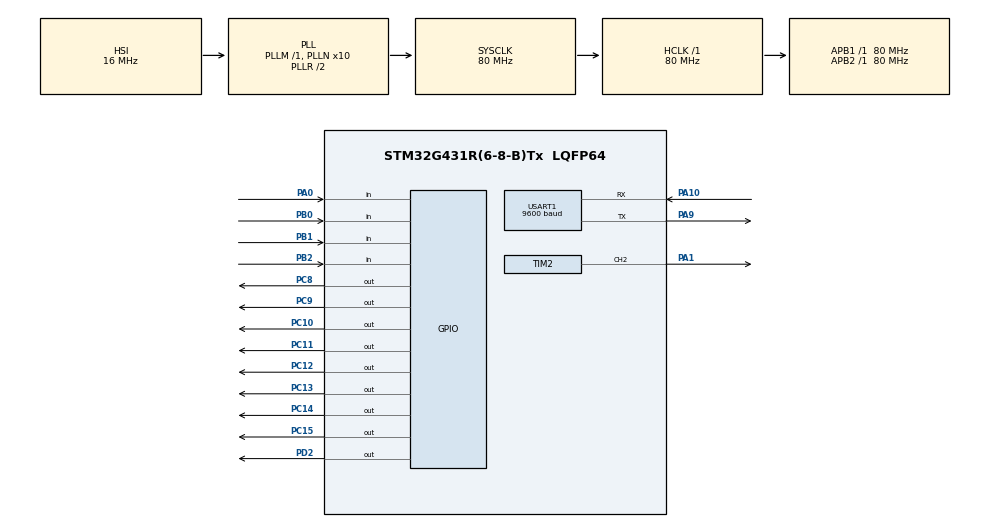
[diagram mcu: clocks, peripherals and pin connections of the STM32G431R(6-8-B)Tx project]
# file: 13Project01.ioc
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Mcu.Family=STM32G4
Mcu.Name=STM32G431R(6-8-B)Tx
Mcu.Package=LQFP64
NVIC.PriorityGroup=NVIC_PRIORITYGROUP_4
NVIC.USART1_IRQn=true\:0\:0\:false\:false\:true\:true\:true
PA0.Signal=GPIO_Input
PA1.Signal=S_TIM2_CH2
PA10.Mode=Asynchronous
PA10.Signal=USART1_RX
PA13.Mode=Serial_Wire
PA13.Signal=SYS_JTMS-SWDIO
PA14.Mode=Serial_Wire
PA14.Signal=SYS_JTCK-SWCLK
PA9.Mode=Asynchronous
PA9.Signal=USART1_TX
PB0.Signal=GPIO_Input
PB1.Signal=GPIO_Input
PB2.Signal=GPIO_Input
PC10.Signal=GPIO_Output
PC11.Signal=GPIO_Output
PC12.Signal=GPIO_Output
PC13.Signal=GPIO_Output
PC14-OSC32_IN.Signal=GPIO_Output
PC15-OSC32_OUT.Signal=GPIO_Output
PC8.Signal=GPIO_Output
PC9.Signal=GPIO_Output
PD2.Signal=GPIO_Output
PF0-OSC_IN.Mode=HSE-External-Oscillator
PF0-OSC_IN.Signal=RCC_OSC_IN
PF1-OSC_OUT.Mode=HSE-External-Oscillator
PF1-OSC_OUT.Signal=RCC_OSC_OUT
ProjectManager.HeapSize=0x200
ProjectManager.StackSize=0x400
ProjectManager.TargetToolchain=MDK-ARM V5
RCC.ADC12Freq_Value=80000000
RCC.AHBFreq_Value=80000000
RCC.APB1Freq_Value=80000000
RCC.APB1TimFreq_Value=80000000
RCC.APB2Freq_Value=80000000
RCC.APB2TimFreq_Value=80000000
RCC.CortexFreq_Value=80000000
RCC.EXTERNAL_CLOCK_VALUE=12288000
RCC.HCLKFreq_Value=80000000
RCC.HSE_VALUE=24000000
RCC.HSI48_VALUE=48000000
RCC.HSI_VALUE=16000000
RCC.LSE_VALUE=32768
RCC.PLLN=10
RCC.SYSCLKFreq_VALUE=80000000
RCC.SYSCLKSource=RCC_SYSCLKSOURCE_PLLCLK
RCC.USBFreq_Value=80000000
RCC.VCOOutputFreq_Value=160000000
SH.S_TIM2_CH2.0=TIM2_CH2,PWM Generation2 CH2
TIM2.Channel-PWM\ Generation2\ CH2=TIM_CHANNEL_2
TIM2.PeriodNoDither=999
TIM2.Prescaler=80-1
TIM2.PulseNoDither_2=500
USART1.BaudRate=9600
USART1.VirtualMode-Asynchronous=VM_ASYNC
VP_SYS_VS_DBSignals.Mode=DisableDeadBatterySignals
VP_TIM2_VS_ClockSourceINT.Mode=Internal
board=custom

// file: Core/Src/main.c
/* USER CODE BEGIN Header */
/**
  ******************************************************************************
  * @file           : main.c
  * @brief          : Main program body
  ******************************************************************************
  * @attention
  *
  * <h2><center>&copy; Copyright (c) 2023 STMicroelectronics.
  * All rights reserved.</center></h2>
  *
  * This software component is licensed by ST under BSD 3-Clause license,
  * the "License"; You may not use this file except in compliance with the
  * License. You may obtain a copy of the License at:
  *                        opensource.org/licenses/BSD-3-Clause
  *
  ******************************************************************************
  */
/* USER CODE END Header */
#include "main.h"
#include "tim.h"
#include "usart.h"
#include "gpio.h"

/* USER CODE BEGIN Includes */
#include "stdio.h"
#include "string.h"
#include "i2c_hal.h"
#include "lcd.h"
/* USER CODE END Includes */

/* USER CODE BEGIN PD */
#define KEY1 HAL_GPIO_ReadPin(GPIOB,GPIO_PIN_0)
#define KEY2 HAL_GPIO_ReadPin(GPIOB,GPIO_PIN_1)
#define KEY3 HAL_GPIO_ReadPin(GPIOB,GPIO_PIN_2)
#define KEY4 HAL_GPIO_ReadPin(GPIOA,GPIO_PIN_0)

/* USER CODE END PD */

/* USER CODE BEGIN PV */
u8 key_val,key_down,key_up,key_old;
double ao1, ao2;
u8 sta_lcd;
u8 ptr[30];

unsigned char tx[21],rx,rx_buf[21],dex;//串口相关变量

u8 tc[128];
u8 tcs = 0;

u8 led_in;
u8 e2prom[5];//EEPROM存储数组
int key[3] = {-1, -1, -1};
u8 rightkey[3] = {1, 2, 3};
u16 freq = 2000;
u8 zb = 50, err_num, err_n;
__IO uint32_t Led1_Tick, Led2_Tick1, Led2_Tick2, Pwm_Tick;
/* USER CODE END PV */

void SystemClock_Config(void);

/* USER CODE BEGIN 0 */
u8 key_scan()
{
	if((KEY1 == 0)||(KEY2 == 0)||(KEY3 == 0)||(KEY4 == 0))
	{
		HAL_Delay(10);
		if(KEY1 == 0) return 1;
		else if(KEY2 == 0) return 2;
		else if(KEY3 == 0) return 3;
		else if(KEY4 == 0) return 4;
	}return 0;
}

void led_dis(u8 led)
{
	HAL_GPIO_WritePin(GPIOC,0xff00,GPIO_PIN_SET);
	HAL_GPIO_WritePin(GPIOD,GPIO_PIN_2,GPIO_PIN_SET);
	HAL_GPIO_WritePin(GPIOD,GPIO_PIN_2,GPIO_PIN_RESET);

	HAL_GPIO_WritePin(GPIOC,led<<8,GPIO_PIN_RESET);
	HAL_GPIO_WritePin(GPIOD,GPIO_PIN_2,GPIO_PIN_SET);
	HAL_GPIO_WritePin(GPIOD,GPIO_PIN_2,GPIO_PIN_RESET);
}

void key_Proc()
{
	static __IO uint32_t Key_Tick,DKey_Tick;

	if(uwTick - Key_Tick < 50)
		return;

	Key_Tick = uwTick;

	key_val = key_scan();
	key_down = key_val&(key_val^key_old);
	key_up = ~key_val&(key_val^key_old);
	key_old = key_val;

	switch (key_up)
	{
		case 1:
		{
			if(!sta_lcd)
			{
				key[0] ++;
				if(key[0] == 10)
					key[0] = 0;
				break;
			}
		}
		case 2:
		{
			if(!sta_lcd)
			{
				key[1] ++;
				if(key[1] == 10)
					key[1] = 0;
			}
			break;
		}
		case 3:
		{
			if(!sta_lcd)
			{
				key[2] ++;
				if(key[2] == 10)
					key[2] = 0;
			}
			break;
		}
		case 4:
		{
			if(key[0] == rightkey[0] && key[1] == rightkey[1] && key[2] == rightkey[2])
			{
				sta_lcd = 1;
				Led1_Tick = uwTick;
				__HAL_TIM_SetAutoreload(&htim2, 2000);
				__HAL_TIM_SetCompare(&htim2,TIM_CHANNEL_2,(200));
				freq = 2000;
				zb = 10;
			}else
			{
				key[0] = -1;
				key[1] = -1;
				key[2] = -1;
				err_num ++;
				if(err_num > 2)
				{
					err_n = 1;
					Led2_Tick1 = uwTick;
					Led2_Tick2 = uwTick;
				}
			}
			LCD_Clear(Black);
			break;
		}
	}

}

void lcd_Proc()
{
	if(!sta_lcd)
	{
		sprintf((char*)ptr,"       PSD");
		LCD_DisplayStringLine(Line1,(u8*)ptr);
		if(key[0] == -1)
			sprintf((char*)ptr,"    B1:@");
		else
			sprintf((char*)ptr,"    B1:%d", key[0]);
		LCD_DisplayStringLine(Line3,(u8*)ptr);
		if(key[1] == -1)
			sprintf((char*)ptr,"    B2:@");
		else
			sprintf((char*)ptr,"    B2:%d", key[1]);
		LCD_DisplayStringLine(Line4,(u8*)ptr);
		if(key[2] == -1)
			sprintf((char*)ptr,"    B3:@");
		else
			sprintf((char*)ptr,"    B3:%d", key[2]);
		LCD_DisplayStringLine(Line5,(u8*)ptr);

	}else{
		sprintf((char*)ptr,"       STA");
		LCD_DisplayStringLine(Line1,(u8*)ptr);
		sprintf((char*)ptr,"    F:%dHz", freq);
		LCD_DisplayStringLine(Line3,(u8*)ptr);
		sprintf((char*)ptr,"    D:%d%%", zb);
		LCD_DisplayStringLine(Line4,(u8*)ptr);
	}
}

void led_Proc()
{
//	__HAL_TIM_SET_COMPARE(&htim3,TIM_CHANNEL_2, 20);
	if(sta_lcd)
	{
		if(uwTick - Led1_Tick < 5000)
		{
			led_in |= 0x01;
		}else
		{
			led_in &= ~(0x01);
			__HAL_TIM_SetAutoreload(&htim2, 1000);
			__HAL_TIM_SetCompare(&htim2,TIM_CHANNEL_2,(500));
			freq = 1000;
			zb = 50;
			sta_lcd = 0;
			key[0] = -1;
			key[1] = -1;
			key[2] = -1;
			LCD_Clear(Black);
		}
	}else
	{
		if(err_n)
		{
			if(uwTick - Led2_Tick1 < 5000)
			{
				if(uwTick - Led2_Tick2 > 100)
				{
					led_in ^= 0x02;
					Led2_Tick2 = uwTick;
				}
			}else
			{
				led_in &= ~(0x02);
			}
		}
	}

	led_dis(led_in);
}

unsigned char isRxCplt()
{
	if((dex==7)&&(rx_buf[3]=='-'))
		return 1;
	else
		return 0;
}

void Uart_Proc()
{
	static __IO uint32_t Uart_Tick;

	if(uwTick-Uart_Tick<50)
		return;
	Uart_Tick=uwTick;

	if(isRxCplt())
	{
		if(rightkey[0] == (rx_buf[0] - '0') && rightkey[1] == (rx_buf[1] - '0') && rightkey[2] == (rx_buf[2] - '0'))
		{
			rightkey[0] = (rx_buf[4] - '0');
			rightkey[1] = (rx_buf[5] - '0');
			rightkey[2] = (rx_buf[6] - '0');
		}
	}

	dex=0;
}

void HAL_UART_RxCpltCallback(UART_HandleTypeDef *huart)
{
	rx_buf[dex++]=rx;

	HAL_UART_Receive_IT(&huart1,&rx,1);
}
/* USER CODE END 0 */

int main(void)
{

  /* MCU Configuration--------------------------------------------------------*/

  /* Reset of all peripherals, Initializes the Flash interface and the Systick. */
  HAL_Init();

  /* Configure the system clock */
  SystemClock_Config();

  /* Initialize all configured peripherals */
  MX_GPIO_Init();
  MX_USART1_UART_Init();
  MX_TIM2_Init();
  /* USER CODE BEGIN 2 */
	I2CInit();
	LCD_Init();
	LCD_SetBackColor(Black);
	LCD_SetTextColor(White);
	LCD_Clear(Black);
	led_dis(0);
//	HAL_TIM_IC_Start_IT
	HAL_TIM_PWM_Start(&htim2, TIM_CHANNEL_2);
	HAL_UART_Receive_IT(&huart1,&rx,1);

  /* USER CODE END 2 */

  /* Infinite loop */
  while (1)
  {

    /* USER CODE BEGIN 3 */
		key_Proc();
		lcd_Proc();
		led_Proc();
		Uart_Proc();
  }
  /* USER CODE END 3 */
}

void SystemClock_Config(void)
{
  RCC_OscInitTypeDef RCC_OscInitStruct = {0};
  RCC_ClkInitTypeDef RCC_ClkInitStruct = {0};
  RCC_PeriphCLKInitTypeDef PeriphClkInit = {0};

  /** Configure the main internal regulator output voltage
  */
  HAL_PWREx_ControlVoltageScaling(PWR_REGULATOR_VOLTAGE_SCALE1);
  /** Initializes the RCC Oscillators according to the specified parameters
  * in the RCC_OscInitTypeDef structure.
  */
  RCC_OscInitStruct.OscillatorType = RCC_OSCILLATORTYPE_HSI;
  RCC_OscInitStruct.HSIState = RCC_HSI_ON;
  RCC_OscInitStruct.HSICalibrationValue = RCC_HSICALIBRATION_DEFAULT;
  RCC_OscInitStruct.PLL.PLLState = RCC_PLL_ON;
  RCC_OscInitStruct.PLL.PLLSource = RCC_PLLSOURCE_HSI;
  RCC_OscInitStruct.PLL.PLLM = RCC_PLLM_DIV1;
  RCC_OscInitStruct.PLL.PLLN = 10;
  RCC_OscInitStruct.PLL.PLLP = RCC_PLLP_DIV2;
  RCC_OscInitStruct.PLL.PLLQ = RCC_PLLQ_DIV2;
  RCC_OscInitStruct.PLL.PLLR = RCC_PLLR_DIV2;
  if (HAL_RCC_OscConfig(&RCC_OscInitStruct) != HAL_OK)
  {
    Error_Handler();
  }
  /** Initializes the CPU, AHB and APB buses clocks
  */
  RCC_ClkInitStruct.ClockType = RCC_CLOCKTYPE_HCLK|RCC_CLOCKTYPE_SYSCLK
                              |RCC_CLOCKTYPE_PCLK1|RCC_CLOCKTYPE_PCLK2;
  RCC_ClkInitStruct.SYSCLKSource = RCC_SYSCLKSOURCE_PLLCLK;
  RCC_ClkInitStruct.AHBCLKDivider = RCC_SYSCLK_DIV1;
  RCC_ClkInitStruct.APB1CLKDivider = RCC_HCLK_DIV1;
  RCC_ClkInitStruct.APB2CLKDivider = RCC_HCLK_DIV1;

  if (HAL_RCC_ClockConfig(&RCC_ClkInitStruct, FLASH_LATENCY_2) != HAL_OK)
  {
    Error_Handler();
  }
  /** Initializes the peripherals clocks
  */
  PeriphClkInit.PeriphClockSelection = RCC_PERIPHCLK_USART1;
  PeriphClkInit.Usart1ClockSelection = RCC_USART1CLKSOURCE_PCLK2;
  if (HAL_RCCEx_PeriphCLKConfig(&PeriphClkInit) != HAL_OK)
  {
    Error_Handler();
  }
}

void Error_Handler(void)
{
  __disable_irq();
  while (1)
  {
  }
}

/************************ (C) COPYRIGHT STMicroelectronics *****END OF FILE****/
